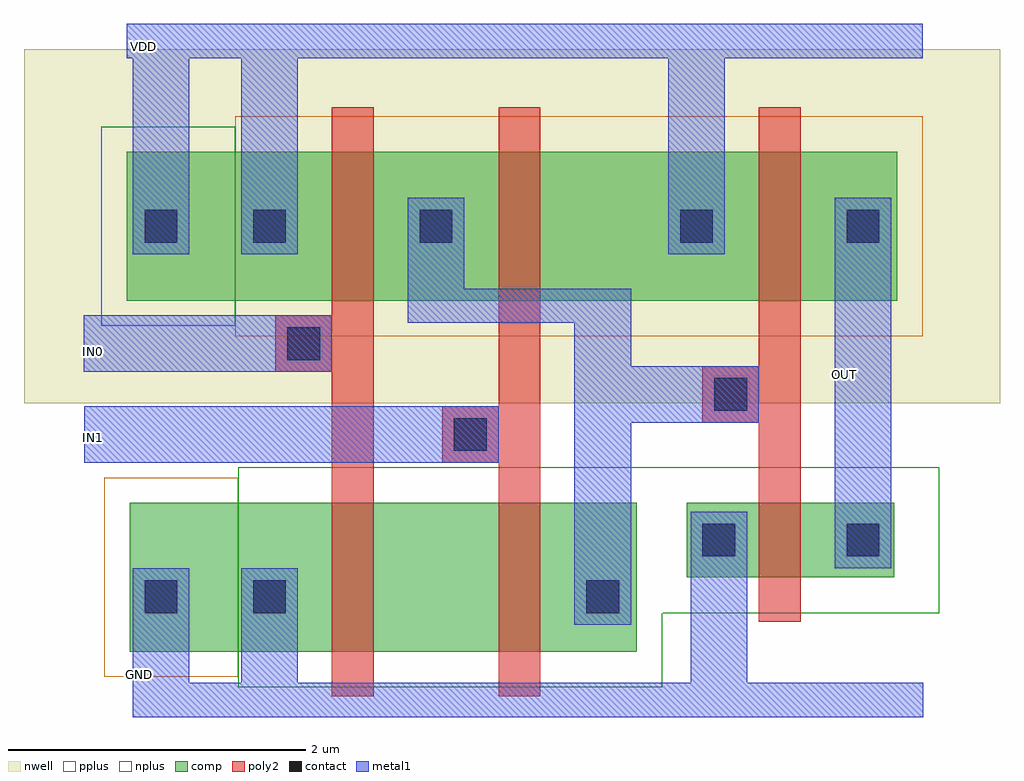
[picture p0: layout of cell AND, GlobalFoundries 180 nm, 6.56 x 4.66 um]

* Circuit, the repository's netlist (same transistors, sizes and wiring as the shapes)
* Extracted by KLayout with GF180MCU LVS runset on : 16/03/2026 03:33

.SUBCKT AND GND VDD OUT IN1 IN0
M$1 \$3 IN0 VDD VDD pfet_03v3 L=0.28U W=1U AS=0.65P AD=0.42P PS=3.3U PD=1.84U
M$2 VDD IN1 \$3 VDD pfet_03v3 L=0.28U W=1U AS=0.42P AD=0.735P PS=1.84U PD=2.47U
M$3 OUT \$3 VDD VDD pfet_03v3 L=0.28U W=1U AS=0.735P AD=0.65P PS=2.47U PD=3.3U
M$4 \$7 IN0 GND GND nfet_03v3 L=0.28U W=1U AS=0.63P AD=0.42P PS=3.26U PD=1.84U
M$5 \$3 IN1 \$7 GND nfet_03v3 L=0.28U W=1U AS=0.42P AD=0.65P PS=1.84U PD=3.3U
M$6 OUT \$3 GND GND nfet_03v3 L=0.28U W=0.5U AS=0.2425P AD=0.315P PS=1.97U
+ PD=2.26U
.ENDS AND

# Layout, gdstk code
import gdstk
lib = gdstk.Library(unit=1e-6, precision=5e-09)
def R(c, l, rs):  # rectangles x0, y0, x1, y1
    for r in rs: c.add(gdstk.rectangle(r[:2], r[2:], *l))
nwell = (21, 0)
comp = (22, 0)
poly2 = (30, 0)
pplus = (31, 0)
nplus = (32, 0)
contact = (33, 0)
metal1 = (34, 0)

and_ = lib.new_cell('AND')
R(and_, nwell, [(-4.4,0.945,2.16,3.325)])
R(and_, comp, [(-3.69,-0.725,-2.96,0.275), (-2.96,-0.725,-2.54,0.275), (-2.54,-0.725,-1.84,0.275), (-1.84,-0.725,-1.42,0.275), (-1.42,-0.725,-0.72,0.275), (-0.93,-0.725,-0.28,0.275), (0.055,-0.225,0.48,0.275), (0.48,-0.225,1.03,0.275), (1.03,-0.225,1.45,0.275), (-3.71,1.635,-2.98,2.635), (-2.98,1.635,-2.52,2.635), (-2.52,1.635,-1.86,2.635), (-1.86,1.635,-1.4,2.635), (-1.4,1.635,-0.74,2.635), (-0.74,1.635,-0.11,2.635), (-0.11,1.635,0.35,2.635), (0.35,1.635,1.01,2.635), (1.01,1.635,1.47,2.635)])
R(and_, poly2, [(-2.33,-1.025,-2.05,2.935), (-1.21,-1.025,-0.93,2.935), (0.54,-0.525,0.82,2.935), (-1.59,0.545,-1.21,0.925), (0.16,0.815,0.54,1.195), (-2.71,1.155,-2.33,1.535)])
R(and_, pplus, [(-3.86,-0.895,-2.96,0.445), (-2.98,1.395,1.64,2.875)])
R(and_, nplus, [(-2.96,-0.965,-0.11,0.515), (-0.11,-0.465,1.75,0.515), (-3.88,1.465,-2.98,2.805)])
R(and_, contact, [(-3.59,-0.465,-3.37,-0.245), (-2.86,-0.465,-2.64,-0.245), (-0.62,-0.465,-0.4,-0.245), (0.16,-0.085,0.38,0.135), (1.13,-0.085,1.35,0.135), (-1.51,0.625,-1.29,0.845), (0.24,0.895,0.46,1.115), (-2.63,1.235,-2.41,1.455), (-3.59,2.025,-3.37,2.245), (-2.86,2.025,-2.64,2.245), (-1.74,2.025,-1.52,2.245), (0.01,2.025,0.23,2.245), (1.13,2.025,1.35,2.245)])
R(and_, metal1, [(-3.67,-1.165,1.645,-0.935), (-3.67,-0.935,-3.29,-0.775), (-2.94,-0.935,-2.56,-0.775), (0.08,-0.935,0.46,-0.395), (-3.67,-0.775,-3.29,-0.545), (-2.94,-0.775,-2.56,-0.545), (-3.67,-0.545,-3.29,-0.165), (-2.94,-0.545,-2.56,-0.165), (-0.7,-0.545,-0.32,-0.165), (0.08,-0.395,0.46,-0.165), (-0.7,-0.165,-0.32,1.715), (0.08,-0.165,0.46,0.215), (1.05,-0.165,1.43,0.215), (1.05,0.215,1.43,1.945), (-3.995,0.545,-1.59,0.925), (-1.59,0.545,-1.21,0.925), (-0.32,0.815,0.16,1.195), (0.16,0.815,0.54,1.195), (-4,1.155,-2.71,1.535), (-2.71,1.155,-2.33,1.535), (-1.82,1.485,-0.7,1.715), (-1.82,1.715,-1.44,1.945), (-3.67,1.945,-3.29,2.325), (-2.94,1.945,-2.56,2.325), (-1.82,1.945,-1.44,2.325), (-0.07,1.945,0.31,2.325), (1.05,1.945,1.43,2.325), (-3.67,2.325,-3.29,3.265), (-2.94,2.325,-2.56,3.265), (-0.07,2.325,0.31,3.265), (-3.71,3.265,1.64,3.495)])
and_.add(gdstk.Label('VDD', (-3.595,3.34), layer=34, texttype=10))
and_.add(gdstk.Label('IN0', (-3.935,1.295), layer=34, texttype=10))
and_.add(gdstk.Label('IN1', (-3.93,0.715), layer=34, texttype=10))
and_.add(gdstk.Label('GND', (-3.625,-0.88), layer=34, texttype=10))
and_.add(gdstk.Label('OUT', (1.115,1.135), layer=34, texttype=10))

lib.write_gds('AND.gds')
